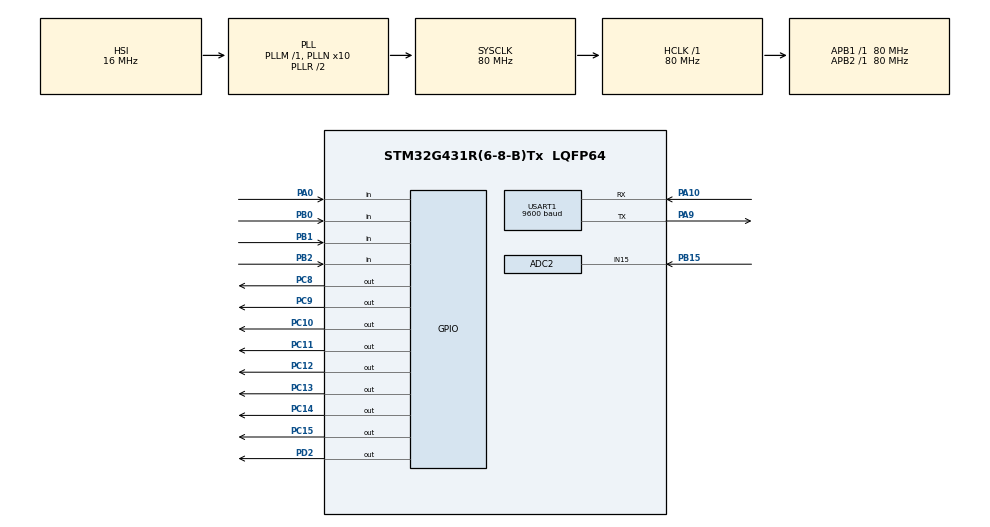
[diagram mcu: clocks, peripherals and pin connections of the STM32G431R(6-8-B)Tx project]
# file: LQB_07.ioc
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ADC2.Channel-0\#ChannelRegularConversion=ADC_CHANNEL_15
ADC2.NbrOfConversionFlag=1
ADC2.OffsetNumber-0\#ChannelRegularConversion=ADC_OFFSET_NONE
ADC2.Rank-0\#ChannelRegularConversion=1
ADC2.SamplingTime-0\#ChannelRegularConversion=ADC_SAMPLETIME_2CYCLES_5
Mcu.Family=STM32G4
Mcu.Name=STM32G431R(6-8-B)Tx
Mcu.Package=LQFP64
NVIC.PriorityGroup=NVIC_PRIORITYGROUP_4
NVIC.USART1_IRQn=true\:3\:0\:true\:false\:true\:true\:true
PA0.GPIO_PuPd=GPIO_NOPULL
PA0.Signal=GPIO_Input
PA10.Mode=Asynchronous
PA10.Signal=USART1_RX
PA9.Mode=Asynchronous
PA9.Signal=USART1_TX
PB0.GPIO_PuPd=GPIO_NOPULL
PB0.Signal=GPIO_Input
PB1.Signal=GPIO_Input
PB15.Mode=IN15-Single-Ended
PB15.Signal=ADC2_IN15
PB2.Signal=GPIO_Input
PC10.GPIO_Speed=GPIO_SPEED_FREQ_HIGH
PC10.PinState=GPIO_PIN_SET
PC10.Signal=GPIO_Output
PC11.GPIO_Speed=GPIO_SPEED_FREQ_HIGH
PC11.PinState=GPIO_PIN_SET
PC11.Signal=GPIO_Output
PC12.GPIO_Speed=GPIO_SPEED_FREQ_HIGH
PC12.PinState=GPIO_PIN_SET
PC12.Signal=GPIO_Output
PC13.PinState=GPIO_PIN_SET
PC13.Signal=GPIO_Output
PC14-OSC32_IN.PinState=GPIO_PIN_SET
PC14-OSC32_IN.Signal=GPIO_Output
PC15-OSC32_OUT.PinState=GPIO_PIN_SET
PC15-OSC32_OUT.Signal=GPIO_Output
PC8.GPIO_Speed=GPIO_SPEED_FREQ_HIGH
PC8.PinState=GPIO_PIN_SET
PC8.Signal=GPIO_Output
PC9.GPIO_Speed=GPIO_SPEED_FREQ_HIGH
PC9.PinState=GPIO_PIN_SET
PC9.Signal=GPIO_Output
PD2.GPIO_Speed=GPIO_SPEED_FREQ_HIGH
PD2.PinState=GPIO_PIN_SET
PD2.Signal=GPIO_Output
PF0-OSC_IN.Mode=HSE-External-Oscillator
PF0-OSC_IN.Signal=RCC_OSC_IN
PF1-OSC_OUT.Mode=HSE-External-Oscillator
PF1-OSC_OUT.Signal=RCC_OSC_OUT
ProjectManager.HeapSize=0x200
ProjectManager.StackSize=0x400
ProjectManager.TargetToolchain=MDK-ARM V5
RCC.ADC12Freq_Value=80000000
RCC.AHBFreq_Value=80000000
RCC.APB1Freq_Value=80000000
RCC.APB1TimFreq_Value=80000000
RCC.APB2Freq_Value=80000000
RCC.APB2TimFreq_Value=80000000
RCC.CortexFreq_Value=80000000
RCC.EXTERNAL_CLOCK_VALUE=12288000
RCC.HCLKFreq_Value=80000000
RCC.HSE_VALUE=8000000
RCC.HSI48_VALUE=48000000
RCC.HSI_VALUE=16000000
RCC.LSE_VALUE=32768
RCC.PLLN=10
RCC.SYSCLKFreq_VALUE=80000000
RCC.SYSCLKSource=RCC_SYSCLKSOURCE_PLLCLK
RCC.USBFreq_Value=80000000
RCC.VCOOutputFreq_Value=160000000
USART1.BaudRate=9600
USART1.VirtualMode-Asynchronous=VM_ASYNC
VP_SYS_VS_DBSignals.Mode=DisableDeadBatterySignals
board=custom

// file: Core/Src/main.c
/* USER CODE BEGIN Header */
/**
  ******************************************************************************
  * @file           : main.c
  * @brief          : Main program body
  ******************************************************************************
  * @attention
  *
  * Copyright (c) 2022 STMicroelectronics.
  * All rights reserved.
  *
  * This software is licensed under terms that can be found in the LICENSE file
  * in the root directory of this software component.
  * If no LICENSE file comes with this software, it is provided AS-IS.
  *
  ******************************************************************************
  */
/* USER CODE END Header */
#include "main.h"
#include "adc.h"
#include "usart.h"
#include "gpio.h"

/* USER CODE BEGIN Includes */
#include "lcd.h"
#include "i2c - hal.h"
#include "stdio.h"
#include "string.h"
/* USER CODE END Includes */

/* USER CODE BEGIN PV */
__IO uint32_t uwTick_Lcd_Set_Point = 0;
__IO uint32_t uwTick_ADC_Set_Point = 0;
__IO uint32_t uwTick_Key_Set_Point = 0;
__IO uint32_t uwTick_Led_Set_Point = 0;
__IO uint32_t uwTick_Led_Set_Point_1 = 0;
uint8_t ucKey_Val, ucKey_Down, ucKey_Up, ucKey_Old;
uint8_t Lcd_Disp_String[21];
uint8_t Height = 0;
uint8_t Level;
uint8_t Level_Old;
uint8_t ucState;
double SUM_AD_R37;
double AVE_AD_R37;
uint8_t pucTh[3];
unsigned char pucRcv[1];
char str[40];
unsigned char ucLed, ucLd2, ucLd3, ucNum_1 = 10, ucNum_2 = 10;
/* USER CODE END PV */

void SystemClock_Config(void);
/* USER CODE BEGIN PFP */
void Lcd_Proc(void);
void ADC_Proc(void);
void Key_Proc(void);
void Led_Proc(void);
void Led_Proc_1(void);
/* USER CODE END PFP */

int main(void)
{

  /* MCU Configuration--------------------------------------------------------*/

  /* Reset of all peripherals, Initializes the Flash interface and the Systick. */
  HAL_Init();

  /* Configure the system clock */
  SystemClock_Config();

  /* Initialize all configured peripherals */
  MX_GPIO_Init();
  MX_ADC2_Init();
  MX_USART1_UART_Init();
  /* USER CODE BEGIN 2 */

	LCD_Init();
	LCD_Clear(White);
	LCD_SetBackColor(White);
	LCD_SetTextColor(Blue);

	HAL_UART_Receive_IT(&huart1, (uint8_t *)(pucRcv), 1);
	I2CInit();
	I2C_24C02_Read(pucTh, 0, 3);
	HAL_Delay(5);
	if(pucTh[0] > 100)
		pucTh[0] = 10;
	if(pucTh[1] > 100)
		pucTh[1] = 20;
	if(pucTh[2] > 100)
		pucTh[2] = 30;

  /* USER CODE END 2 */

  /* Infinite loop */
  while (1)
  {

    /* USER CODE BEGIN 3 */
		Led_Proc();
		Led_Proc_1();
		ADC_Proc();
		Key_Proc();
		Lcd_Proc();
  }
  /* USER CODE END 3 */
}

void SystemClock_Config(void)
{
  RCC_OscInitTypeDef RCC_OscInitStruct = {0};
  RCC_ClkInitTypeDef RCC_ClkInitStruct = {0};

  /** Configure the main internal regulator output voltage
  */
  HAL_PWREx_ControlVoltageScaling(PWR_REGULATOR_VOLTAGE_SCALE1);
  /** Initializes the RCC Oscillators according to the specified parameters
  * in the RCC_OscInitTypeDef structure.
  */
  RCC_OscInitStruct.OscillatorType = RCC_OSCILLATORTYPE_HSI;
  RCC_OscInitStruct.HSIState = RCC_HSI_ON;
  RCC_OscInitStruct.HSICalibrationValue = RCC_HSICALIBRATION_DEFAULT;
  RCC_OscInitStruct.PLL.PLLState = RCC_PLL_ON;
  RCC_OscInitStruct.PLL.PLLSource = RCC_PLLSOURCE_HSI;
  RCC_OscInitStruct.PLL.PLLM = RCC_PLLM_DIV1;
  RCC_OscInitStruct.PLL.PLLN = 10;
  RCC_OscInitStruct.PLL.PLLP = RCC_PLLP_DIV2;
  RCC_OscInitStruct.PLL.PLLQ = RCC_PLLQ_DIV2;
  RCC_OscInitStruct.PLL.PLLR = RCC_PLLR_DIV2;
  if (HAL_RCC_OscConfig(&RCC_OscInitStruct) != HAL_OK)
  {
    Error_Handler();
  }
  /** Initializes the CPU, AHB and APB buses clocks
  */
  RCC_ClkInitStruct.ClockType = RCC_CLOCKTYPE_HCLK|RCC_CLOCKTYPE_SYSCLK
                              |RCC_CLOCKTYPE_PCLK1|RCC_CLOCKTYPE_PCLK2;
  RCC_ClkInitStruct.SYSCLKSource = RCC_SYSCLKSOURCE_PLLCLK;
  RCC_ClkInitStruct.AHBCLKDivider = RCC_SYSCLK_DIV1;
  RCC_ClkInitStruct.APB1CLKDivider = RCC_HCLK_DIV1;
  RCC_ClkInitStruct.APB2CLKDivider = RCC_HCLK_DIV1;

  if (HAL_RCC_ClockConfig(&RCC_ClkInitStruct, FLASH_LATENCY_2) != HAL_OK)
  {
    Error_Handler();
  }
}

/* USER CODE BEGIN 4 */
void Lcd_Proc(void)
{
	if(((uwTick - uwTick_Lcd_Set_Point) < 100) && !ucState)
		return;

	uwTick_Lcd_Set_Point = uwTick;

	if(!ucState)
	{
		LCD_DisplayStringLine(Line1, (u8*)"    Liquid Level    ");

		sprintf((char*)Lcd_Disp_String, "    Height:%3ucm     ", Height);
		LCD_DisplayStringLine(Line4, Lcd_Disp_String);

		sprintf((char*)Lcd_Disp_String, "    VR37:%4.2lfV      ", AVE_AD_R37);
		LCD_DisplayStringLine(Line6, Lcd_Disp_String);

		sprintf((char *)Lcd_Disp_String,"    Level:%1u        ", Level);
		LCD_DisplayStringLine(Line8, Lcd_Disp_String);
	}
	else
	{
		LCD_DisplayStringLine(Line1, (u8*)"  Threshold Setup   ");

		sprintf((char*)Lcd_Disp_String, "  Threshold 1: %02ucm  ", pucTh[0]);
		if(ucState == 1)
			LCD_SetBackColor(Red);
		LCD_DisplayStringLine(Line4, Lcd_Disp_String);
		LCD_SetBackColor(White);

		sprintf((char*)Lcd_Disp_String, "  Threshold 2: %02ucm  ", pucTh[1]);
		if(ucState == 2)
			LCD_SetBackColor(Red);
		LCD_DisplayStringLine(Line6, Lcd_Disp_String);
		LCD_SetBackColor(White);

		sprintf((char*)Lcd_Disp_String, "  Threshold 3: %02ucm  ", pucTh[2]);
		if(ucState == 3)
			LCD_SetBackColor(Yellow);
		LCD_DisplayStringLine(Line8, Lcd_Disp_String);
		LCD_SetBackColor(White);
	}
}

void ADC_Proc(void)
{
	if((uwTick - uwTick_ADC_Set_Point) < 100)
		return;

	uwTick_ADC_Set_Point = uwTick;

//	for(int i = 0; i < 10; i++)
//	{
//		SUM_AD_R37 += ((float)getADC2());
//	}
//	SUM_AD_R37 = SUM_AD_R37 /4095 *3.3;
//	AVE_AD_R37 = SUM_AD_R37 / 10;
//	SUM_AD_R37 = 0;

	AVE_AD_R37 = ((double)getADC2()) / 4095 * 3.3;
	Height = (uint8_t)(AVE_AD_R37 * 30.3);

	Level_Old = Level;

	if(Height < pucTh[0])
		Level = 0;
	else if(Height < pucTh[1])
		Level = 1;
	else if(Height < pucTh[2])
		Level = 2;
	else
		Level = 3;

//	if(Level > Level_Old)
//	{
//		sprintf((char*)str, "UP  Level:%1u  Level_Old:%1u\r\n", Level, Level_Old);
//		HAL_UART_Transmit(&huart1, (unsigned char*)str, strlen(str), 50);
//	}
//	else if(Level < Level_Old)
//	{
//		sprintf((char*)str, "DOWN  Level:%1u  Level_Old:%1u\r\n", Level, Level_Old);
//		HAL_UART_Transmit(&huart1, (unsigned char*)str, strlen(str), 50);
//	}
	if(Level != Level_Old)
	{
		if(Level > Level_Old)
		{
			sprintf((char*)str, "A:H%02u+L%1u+U\r\n", Height, Level);
			HAL_UART_Transmit(&huart1, (unsigned char*)str, strlen(str), 50);
//			sprintf((char*)str, "UP  Level:%1u  Level_Old:%1u\r\n", Level, Level_Old);
//			HAL_UART_Transmit(&huart1, (unsigned char*)str, strlen(str), 50);
		}
		else
		{
			sprintf((char*)str, "A:H%02u+L%1u+D\r\n", Height, Level);
			HAL_UART_Transmit(&huart1, (unsigned char*)str, strlen(str), 50);
//			sprintf((char*)str, "DOWN  Level:%1u  Level_Old:%1u\r\n", Level, Level_Old);
//			HAL_UART_Transmit(&huart1, (unsigned char*)str, strlen(str), 50);
		}

	ucLd2 = 1;
	}
}

void Key_Proc(void)
{
	if((uwTick -  uwTick_Key_Set_Point)<50)
		return;//减速函数
	uwTick_Key_Set_Point = uwTick;

	ucKey_Val = Key_Scan();
	ucKey_Down = ucKey_Val & (ucKey_Old ^ ucKey_Val);
	ucKey_Up = ~ucKey_Val & (ucKey_Old ^ ucKey_Val);
	ucKey_Old = ucKey_Val;

	switch(ucKey_Down)
	{
		case 1:
			if(!ucState)
			{
				ucState = 1;
			}
			else
			{
				if((pucTh[0] < pucTh[1]) && (pucTh[1] < pucTh[2]))
				{
					ucState = 0;
					LCD_DisplayStringLine(Line3, (u8*)"                    ");
					I2C_24C02_Write(pucTh, 0, 3);
					HAL_Delay(5);
				}
				else
				{
					LCD_SetTextColor(Red);
					LCD_DisplayStringLine(Line3, (uint8_t*)"   Threshold Error   ");
					LCD_SetTextColor(Blue);
				}
			}
		break;

		case 2:
			if(ucState)
				if(++ucState  == 4)
					ucState = 1;
		break;

		case 3:
			if(ucState)
				if(pucTh[ucState - 1] < 95)
					pucTh[ucState - 1] += 5;
		break;

		case 4:
			if(ucState)
				if(pucTh[ucState - 1] > 5)
					pucTh[ucState - 1] -= 5;
		break;
	}
}

void HAL_UART_RxCpltCallback(UART_HandleTypeDef *huart)
{
	if(pucRcv[0] == 'C')
	{
		sprintf((char*)str,"C:H%02u+L%1u\r\n", Height, Level);
		HAL_UART_Transmit(&huart1,(unsigned char *)str, strlen(str), 50);
	}
	if(pucRcv[0] == 'S')
	{
		sprintf((char*)str,"S:TL%02u+TM%2u+TH%02u\r\n", pucTh[0], pucTh[1], pucTh[2]);
		HAL_UART_Transmit(&huart1,(unsigned char *)str, strlen(str), 50);
	}
	if(pucRcv[0] == 'C' || pucRcv[0] == 'S')
	{
		ucLd3 = 1;
	}

	HAL_UART_Receive_IT(&huart1, (uint8_t *)(pucRcv), 1);
}

void Led_Proc(void)
{
	if((uwTick - uwTick_Led_Set_Point) < 200)
		return;

	uwTick_Led_Set_Point = uwTick;

	if(ucLd2)
	{
		if(ucNum_1--)
			ucLed ^= 2;
		else
		{
			ucLd2 = 0;
			ucNum_1 = 10;
		}
	}

	if(ucLd3)
	{
		if(ucNum_2--)
			ucLed ^= 4;
		else
		{
			ucLd3 = 0;
			ucNum_2 = 10;
		}
	}

	Led_Disp(ucLed);
}

void Led_Proc_1(void)
{
	if((uwTick - uwTick_Led_Set_Point_1) < 1000)
		return;

	uwTick_Led_Set_Point_1 = uwTick;

	ucLed ^= 1;
}
/* USER CODE END 4 */

void Error_Handler(void)
{
  __disable_irq();
  while (1)
  {
  }
}
